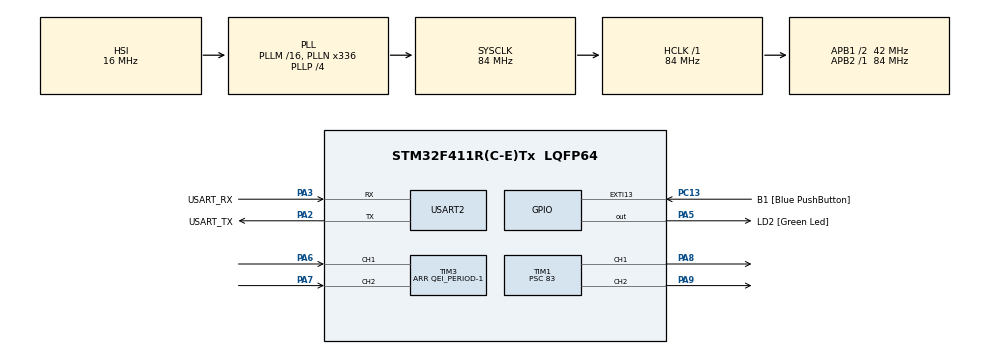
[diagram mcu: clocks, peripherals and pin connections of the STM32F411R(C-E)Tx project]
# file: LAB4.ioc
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ARM.CMSIS.5.6.0.CMSISJjCORE=true
ARM.CMSIS.5.6.0.CMSISJjDSP=Library
Mcu.Family=STM32F4
Mcu.Name=STM32F411R(C-E)Tx
Mcu.Package=LQFP64
Mcu.UserConstants=QEI_PERIOD,61440
NVIC.PriorityGroup=NVIC_PRIORITYGROUP_0
PA13.GPIO_Label=TMS
PA13.Mode=Trace_Asynchronous_SW
PA13.Signal=SYS_JTMS-SWDIO
PA14.GPIO_Label=TCK
PA14.Mode=Trace_Asynchronous_SW
PA14.Signal=SYS_JTCK-SWCLK
PA2.GPIO_Label=USART_TX
PA2.Mode=Asynchronous
PA2.Signal=USART2_TX
PA3.GPIO_Label=USART_RX
PA3.Mode=Asynchronous
PA3.Signal=USART2_RX
PA5.GPIO_Label=LD2 [Green Led]
PA5.Signal=GPIO_Output
PA6.Signal=S_TIM3_CH1
PA7.Signal=S_TIM3_CH2
PA8.Signal=S_TIM1_CH1
PA9.Signal=S_TIM1_CH2
PB3.GPIO_Label=SWO
PB3.Mode=Trace_Asynchronous_SW
PB3.Signal=SYS_JTDO-SWO
PC13-ANTI_TAMP.GPIO_Label=B1 [Blue PushButton]
PC13-ANTI_TAMP.GPIO_ModeDefaultEXTI=GPIO_MODE_IT_FALLING
PC13-ANTI_TAMP.Signal=GPXTI13
PC14-OSC32_IN.Mode=LSE-External-Oscillator
PC14-OSC32_IN.Signal=RCC_OSC32_IN
PC15-OSC32_OUT.Mode=LSE-External-Oscillator
PC15-OSC32_OUT.Signal=RCC_OSC32_OUT
PH0\ -\ OSC_IN.Mode=HSE-External-Clock-Source
PH0\ -\ OSC_IN.Signal=RCC_OSC_IN
PH1\ -\ OSC_OUT.Mode=HSE-External-Clock-Source
PH1\ -\ OSC_OUT.Signal=RCC_OSC_OUT
ProjectManager.HeapSize=0x200
ProjectManager.StackSize=0x400
ProjectManager.TargetToolchain=STM32CubeIDE
RCC.48MHZClocksFreq_Value=84000000
RCC.AHBFreq_Value=84000000
RCC.APB1CLKDivider=RCC_HCLK_DIV2
RCC.APB1Freq_Value=42000000
RCC.APB1TimFreq_Value=84000000
RCC.APB2Freq_Value=84000000
RCC.APB2TimFreq_Value=84000000
RCC.CortexFreq_Value=84000000
RCC.FLatency-AdvancedSettings=FLASH_LATENCY_2
RCC.HCLKFreq_Value=84000000
RCC.HSE_VALUE=8000000
RCC.HSI_VALUE=16000000
RCC.PLLN=336
RCC.PLLP=RCC_PLLP_DIV4
RCC.SYSCLKFreq_VALUE=84000000
RCC.SYSCLKSource=RCC_SYSCLKSOURCE_PLLCLK
RCC.VCOOutputFreq_Value=336000000
SH.S_TIM1_CH1.0=TIM1_CH1,PWM Generation1 CH1
SH.S_TIM1_CH2.0=TIM1_CH2,PWM Generation2 CH2
SH.S_TIM3_CH1.0=TIM3_CH1,Encoder_Interface
SH.S_TIM3_CH2.0=TIM3_CH2,Encoder_Interface
TIM1.Channel-PWM\ Generation1\ CH1=TIM_CHANNEL_1
TIM1.Channel-PWM\ Generation2\ CH2=TIM_CHANNEL_2
TIM1.Period=999
TIM1.Prescaler=83
TIM1.Pulse-PWM\ Generation1\ CH1=0
TIM1.Pulse-PWM\ Generation2\ CH2=0
TIM3.EncoderMode=TIM_ENCODERMODE_TI12
TIM3.Period=QEI_PERIOD-1
USART2.VirtualMode=VM_ASYNC
VP_ARM.CMSIS_VS_CMSISJjCORE_5.3.0_5.6.0.Mode=CMSISJjCORE
VP_ARM.CMSIS_VS_CMSISJjDSP_1.7.0_5.6.0.Mode=CMSISJjDSP
VP_TIM1_VS_ClockSourceINT.Mode=Internal
board=NUCLEO-F411RE

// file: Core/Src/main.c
/* USER CODE BEGIN Header */
/**
  ******************************************************************************
  * @file           : main.c
  * @brief          : Main program body
  ******************************************************************************
  * @attention
  *
  * Copyright (c) 2023 STMicroelectronics.
  * All rights reserved.
  *
  * This software is licensed under terms that can be found in the LICENSE file
  * in the root directory of this software component.
  * If no LICENSE file comes with this software, it is provided AS-IS.
  *
  ******************************************************************************
  */
/* USER CODE END Header */
#include "main.h"

/* USER CODE BEGIN Includes */
#include "arm_math.h"
/* USER CODE END Includes */

TIM_HandleTypeDef htim1;
TIM_HandleTypeDef htim3;

UART_HandleTypeDef huart2;

/* USER CODE BEGIN PV */
// PID
arm_pid_instance_f32 PID = {0};
float setpoint = 0;
float Vfeedback = 0;

// QEI
uint32_t QEIReadRaw;
uint32_t last_QEIReadRaw = 0;
uint32_t QEI_count = 0;
float Degree = 0;
float diff = 0;
uint16_t count = 0;

// OUTPUT COMPARE
uint16_t Duty = 0;

/* USER CODE END PV */

void SystemClock_Config(void);
static void MX_GPIO_Init(void);
static void MX_USART2_UART_Init(void);
static void MX_TIM1_Init(void);
static void MX_TIM3_Init(void);
/* USER CODE BEGIN PFP */
//float PlantSimulation(float VIn);
/* USER CODE END PFP */

int main(void)
{

  /* MCU Configuration--------------------------------------------------------*/

  /* Reset of all peripherals, Initializes the Flash interface and the Systick. */
  HAL_Init();

  /* Configure the system clock */
  SystemClock_Config();

  /* Initialize all configured peripherals */
  MX_GPIO_Init();
  MX_USART2_UART_Init();
  MX_TIM1_Init();
  MX_TIM3_Init();
  /* USER CODE BEGIN 2 */
  // PID
  PID.Kp = 20;
  PID.Ki = 0;
  PID.Kd = 0;
  arm_pid_init_f32(&PID, 0);

  // QEI
  HAL_TIM_Encoder_Start(&htim3, TIM_CHANNEL_1|TIM_CHANNEL_2);

  HAL_TIM_Base_Start(&htim1);
  HAL_TIM_PWM_Start(&htim1, TIM_CHANNEL_1);
  HAL_TIM_PWM_Start(&htim1, TIM_CHANNEL_2);
  /* USER CODE END 2 */

  /* Infinite loop */
  /* USER CODE BEGIN WHILE */
  while (1)
  {
	  static uint32_t timestamp = 0;
	  if(timestamp < HAL_GetTick())
	  {
		  timestamp = HAL_GetTick()+10;

		  QEIReadRaw = __HAL_TIM_GET_COUNTER(&htim3);

		  count = last_QEIReadRaw - QEIReadRaw;
		  if(count > 60000 && count < 62000)
		  {
			  QEI_count += QEIReadRaw + (61439 - last_QEIReadRaw);
		  }
		  else{QEI_count += QEIReadRaw - last_QEIReadRaw;}

		  Degree = QEI_count*360.0/3072.0;

		  Vfeedback = arm_pid_f32(&PID, setpoint - Degree);

		  Duty = fabs(Vfeedback);
		  if(Duty > 1000){Duty = 1000;}
		  else if(Duty < 100){Duty = 100;}

		  diff = setpoint - Degree;

		  if(diff < 0 && diff > -0.3){
			  __HAL_TIM_SET_COMPARE(&htim1, TIM_CHANNEL_1, 0);
			  __HAL_TIM_SET_COMPARE(&htim1, TIM_CHANNEL_2, 0);
		  }
		  else if(Vfeedback < 0){
			  __HAL_TIM_SET_COMPARE(&htim1, TIM_CHANNEL_1, Duty);
		  }
		  else if(Vfeedback > 0){
			  __HAL_TIM_SET_COMPARE(&htim1, TIM_CHANNEL_2, Duty);
		  }
		  last_QEIReadRaw = QEIReadRaw;
	  }
    /* USER CODE END WHILE */

  }
}

void SystemClock_Config(void)
{
  RCC_OscInitTypeDef RCC_OscInitStruct = {0};
  RCC_ClkInitTypeDef RCC_ClkInitStruct = {0};

  /** Configure the main internal regulator output voltage
  */
  __HAL_RCC_PWR_CLK_ENABLE();
  __HAL_PWR_VOLTAGESCALING_CONFIG(PWR_REGULATOR_VOLTAGE_SCALE1);

  /** Initializes the RCC Oscillators according to the specified parameters
  * in the RCC_OscInitTypeDef structure.
  */
  RCC_OscInitStruct.OscillatorType = RCC_OSCILLATORTYPE_HSI;
  RCC_OscInitStruct.HSIState = RCC_HSI_ON;
  RCC_OscInitStruct.HSICalibrationValue = RCC_HSICALIBRATION_DEFAULT;
  RCC_OscInitStruct.PLL.PLLState = RCC_PLL_ON;
  RCC_OscInitStruct.PLL.PLLSource = RCC_PLLSOURCE_HSI;
  RCC_OscInitStruct.PLL.PLLM = 16;
  RCC_OscInitStruct.PLL.PLLN = 336;
  RCC_OscInitStruct.PLL.PLLP = RCC_PLLP_DIV4;
  RCC_OscInitStruct.PLL.PLLQ = 4;
  if (HAL_RCC_OscConfig(&RCC_OscInitStruct) != HAL_OK)
  {
    Error_Handler();
  }

  /** Initializes the CPU, AHB and APB buses clocks
  */
  RCC_ClkInitStruct.ClockType = RCC_CLOCKTYPE_HCLK|RCC_CLOCKTYPE_SYSCLK
                              |RCC_CLOCKTYPE_PCLK1|RCC_CLOCKTYPE_PCLK2;
  RCC_ClkInitStruct.SYSCLKSource = RCC_SYSCLKSOURCE_PLLCLK;
  RCC_ClkInitStruct.AHBCLKDivider = RCC_SYSCLK_DIV1;
  RCC_ClkInitStruct.APB1CLKDivider = RCC_HCLK_DIV2;
  RCC_ClkInitStruct.APB2CLKDivider = RCC_HCLK_DIV1;

  if (HAL_RCC_ClockConfig(&RCC_ClkInitStruct, FLASH_LATENCY_2) != HAL_OK)
  {
    Error_Handler();
  }
}

static void MX_TIM1_Init(void)
{

  TIM_ClockConfigTypeDef sClockSourceConfig = {0};
  TIM_MasterConfigTypeDef sMasterConfig = {0};
  TIM_OC_InitTypeDef sConfigOC = {0};
  TIM_BreakDeadTimeConfigTypeDef sBreakDeadTimeConfig = {0};

  htim1.Instance = TIM1;
  htim1.Init.Prescaler = 83;
  htim1.Init.CounterMode = TIM_COUNTERMODE_UP;
  htim1.Init.Period = 999;
  htim1.Init.ClockDivision = TIM_CLOCKDIVISION_DIV1;
  htim1.Init.RepetitionCounter = 0;
  htim1.Init.AutoReloadPreload = TIM_AUTORELOAD_PRELOAD_DISABLE;
  if (HAL_TIM_Base_Init(&htim1) != HAL_OK)
  {
    Error_Handler();
  }
  sClockSourceConfig.ClockSource = TIM_CLOCKSOURCE_INTERNAL;
  if (HAL_TIM_ConfigClockSource(&htim1, &sClockSourceConfig) != HAL_OK)
  {
    Error_Handler();
  }
  if (HAL_TIM_PWM_Init(&htim1) != HAL_OK)
  {
    Error_Handler();
  }
  sMasterConfig.MasterOutputTrigger = TIM_TRGO_RESET;
  sMasterConfig.MasterSlaveMode = TIM_MASTERSLAVEMODE_DISABLE;
  if (HAL_TIMEx_MasterConfigSynchronization(&htim1, &sMasterConfig) != HAL_OK)
  {
    Error_Handler();
  }
  sConfigOC.OCMode = TIM_OCMODE_PWM1;
  sConfigOC.Pulse = 0;
  sConfigOC.OCPolarity = TIM_OCPOLARITY_HIGH;
  sConfigOC.OCNPolarity = TIM_OCNPOLARITY_HIGH;
  sConfigOC.OCFastMode = TIM_OCFAST_DISABLE;
  sConfigOC.OCIdleState = TIM_OCIDLESTATE_RESET;
  sConfigOC.OCNIdleState = TIM_OCNIDLESTATE_RESET;
  if (HAL_TIM_PWM_ConfigChannel(&htim1, &sConfigOC, TIM_CHANNEL_1) != HAL_OK)
  {
    Error_Handler();
  }
  if (HAL_TIM_PWM_ConfigChannel(&htim1, &sConfigOC, TIM_CHANNEL_2) != HAL_OK)
  {
    Error_Handler();
  }
  sBreakDeadTimeConfig.OffStateRunMode = TIM_OSSR_DISABLE;
  sBreakDeadTimeConfig.OffStateIDLEMode = TIM_OSSI_DISABLE;
  sBreakDeadTimeConfig.LockLevel = TIM_LOCKLEVEL_OFF;
  sBreakDeadTimeConfig.DeadTime = 0;
  sBreakDeadTimeConfig.BreakState = TIM_BREAK_DISABLE;
  sBreakDeadTimeConfig.BreakPolarity = TIM_BREAKPOLARITY_HIGH;
  sBreakDeadTimeConfig.AutomaticOutput = TIM_AUTOMATICOUTPUT_DISABLE;
  if (HAL_TIMEx_ConfigBreakDeadTime(&htim1, &sBreakDeadTimeConfig) != HAL_OK)
  {
    Error_Handler();
  }
  HAL_TIM_MspPostInit(&htim1);

}

static void MX_TIM3_Init(void)
{

  TIM_Encoder_InitTypeDef sConfig = {0};
  TIM_MasterConfigTypeDef sMasterConfig = {0};

  htim3.Instance = TIM3;
  htim3.Init.Prescaler = 0;
  htim3.Init.CounterMode = TIM_COUNTERMODE_UP;
  htim3.Init.Period = QEI_PERIOD-1;
  htim3.Init.ClockDivision = TIM_CLOCKDIVISION_DIV1;
  htim3.Init.AutoReloadPreload = TIM_AUTORELOAD_PRELOAD_DISABLE;
  sConfig.EncoderMode = TIM_ENCODERMODE_TI12;
  sConfig.IC1Polarity = TIM_ICPOLARITY_RISING;
  sConfig.IC1Selection = TIM_ICSELECTION_DIRECTTI;
  sConfig.IC1Prescaler = TIM_ICPSC_DIV1;
  sConfig.IC1Filter = 0;
  sConfig.IC2Polarity = TIM_ICPOLARITY_RISING;
  sConfig.IC2Selection = TIM_ICSELECTION_DIRECTTI;
  sConfig.IC2Prescaler = TIM_ICPSC_DIV1;
  sConfig.IC2Filter = 0;
  if (HAL_TIM_Encoder_Init(&htim3, &sConfig) != HAL_OK)
  {
    Error_Handler();
  }
  sMasterConfig.MasterOutputTrigger = TIM_TRGO_RESET;
  sMasterConfig.MasterSlaveMode = TIM_MASTERSLAVEMODE_DISABLE;
  if (HAL_TIMEx_MasterConfigSynchronization(&htim3, &sMasterConfig) != HAL_OK)
  {
    Error_Handler();
  }

}

static void MX_USART2_UART_Init(void)
{

  huart2.Instance = USART2;
  huart2.Init.BaudRate = 115200;
  huart2.Init.WordLength = UART_WORDLENGTH_8B;
  huart2.Init.StopBits = UART_STOPBITS_1;
  huart2.Init.Parity = UART_PARITY_NONE;
  huart2.Init.Mode = UART_MODE_TX_RX;
  huart2.Init.HwFlowCtl = UART_HWCONTROL_NONE;
  huart2.Init.OverSampling = UART_OVERSAMPLING_16;
  if (HAL_UART_Init(&huart2) != HAL_OK)
  {
    Error_Handler();
  }

}

static void MX_GPIO_Init(void)
{
  GPIO_InitTypeDef GPIO_InitStruct = {0};

  /* GPIO Ports Clock Enable */
  __HAL_RCC_GPIOC_CLK_ENABLE();
  __HAL_RCC_GPIOH_CLK_ENABLE();
  __HAL_RCC_GPIOA_CLK_ENABLE();
  __HAL_RCC_GPIOB_CLK_ENABLE();

  /*Configure GPIO pin Output Level */
  HAL_GPIO_WritePin(LD2_GPIO_Port, LD2_Pin, GPIO_PIN_RESET);

  /*Configure GPIO pin : B1_Pin */
  GPIO_InitStruct.Pin = B1_Pin;
  GPIO_InitStruct.Mode = GPIO_MODE_IT_FALLING;
  GPIO_InitStruct.Pull = GPIO_NOPULL;
  HAL_GPIO_Init(B1_GPIO_Port, &GPIO_InitStruct);

  /*Configure GPIO pin : LD2_Pin */
  GPIO_InitStruct.Pin = LD2_Pin;
  GPIO_InitStruct.Mode = GPIO_MODE_OUTPUT_PP;
  GPIO_InitStruct.Pull = GPIO_NOPULL;
  GPIO_InitStruct.Speed = GPIO_SPEED_FREQ_LOW;
  HAL_GPIO_Init(LD2_GPIO_Port, &GPIO_InitStruct);

}

void Error_Handler(void)
{
  __disable_irq();
  while (1)
  {
  }
}
